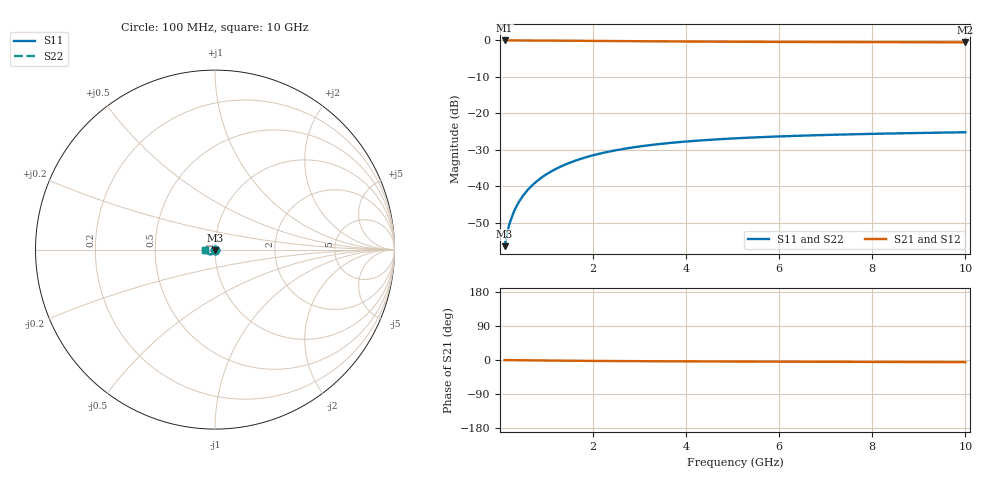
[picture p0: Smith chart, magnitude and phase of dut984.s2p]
! Touchstone file exported from HFSS 2024.1.0
!  File:  C:/UserFiles/LocalFiles/RDL_TSV_Batchsim/temp_TSV1_984_1779952264.aedt
!  Generated:  03:15:27 PM May 28, 2026
!  Design:  TSV1
!  Project:  temp_TSV1_984_1779952264
!  Setup:  Setup1
!  Solution:  Sweep
! Variables:
!  dtsv = 10.88um
!  hbump = 3um
!  htsv = 90.62um
!  lrdl = 252.1521522um
!  p = 40
!  p1 = 48.88um
!  t = 500um
!  trdl = 3um
!  wrdl = 24.89489489um
# GHz S MA R 50.000000
! Terminal data exported
! Port[1] = TSV22_T1
! Port[2] = TSV22_T2
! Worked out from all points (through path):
!   100 points, 100 MHz to 10 GHz, reference 50 ohm
!   highest |S21| = 0.00 dB at 100 MHz (marker M1); lowest = -0.5 dB at 10 GHz (marker M2)
!   lowest |S11| = -56.4 dB at 100 MHz (marker M3), VSWR 1.00, Z = 50 - j0.151 ohm
!   |S11| at or under -10 dB: start of sweep to end of sweep
!   |S22| runs from -56.4 to -25.2 dB; largest |S21 - S12| = 6.4e-15
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0.1  0.001513 -86.7  0.9998 -0.1  0.9998 -0.1  0.001513 -86.7
! Gamma 0 0 0 0
! Port Impedance 50 0 50 0
0.2  0.003017 -90.8  0.9997 -0.3  0.9997 -0.3  0.003017 -90.8
0.3  0.004521 -93.3  0.9994 -0.4  0.9994 -0.4  0.004521 -93.3
0.4  0.006019 -95.4  0.9991 -0.6  0.9991 -0.6  0.006019 -95.4
0.5  0.007507 -97.3  0.9987 -0.7  0.9987 -0.7  0.007507 -97.3
0.6  0.00898 -99.2  0.9982 -0.8  0.9982 -0.8  0.00898 -99.2
0.7  0.01043 -101.0  0.9976 -1.0  0.9976 -1.0  0.01043 -101.0
0.8  0.01187 -102.8  0.997 -1.1  0.997 -1.1  0.01187 -102.8
0.9  0.01327 -104.5  0.9963 -1.2  0.9963 -1.2  0.01327 -104.5
1.1  0.016 -107.9  0.9947 -1.5  0.9947 -1.5  0.016 -107.9
1.4  0.01985 -112.7  0.992 -1.8  0.992 -1.8  0.01985 -112.7
1.6  0.02225 -115.7  0.99 -2.0  0.99 -2.0  0.02225 -115.7
1.8  0.02451 -118.7  0.988 -2.2  0.988 -2.2  0.02451 -118.7
2.1  0.02763 -122.8  0.9849 -2.5  0.9849 -2.5  0.02763 -122.8
2.5  0.0313 -127.9  0.9807 -2.8  0.9807 -2.8  0.0313 -127.9
2.9  0.03448 -132.5  0.9767 -3.0  0.9767 -3.0  0.03448 -132.5
3.4  0.03784 -137.7  0.972 -3.3  0.972 -3.3  0.03784 -137.7
4.2  0.04208 -144.8  0.9656 -3.7  0.9656 -3.7  0.04208 -144.8
5.1  0.04564 -151.4  0.9598 -4.1  0.9598 -4.1  0.04563 -151.5
6.7  0.04998 -160.9  0.9524 -4.6  0.9524 -4.6  0.04998 -160.9
8.4  0.05303 -168.8  0.9471 -5.2  0.9471 -5.2  0.05303 -168.8
10  0.05511 -174.9  0.9437 -5.7  0.9437 -5.7  0.05511 -174.9
